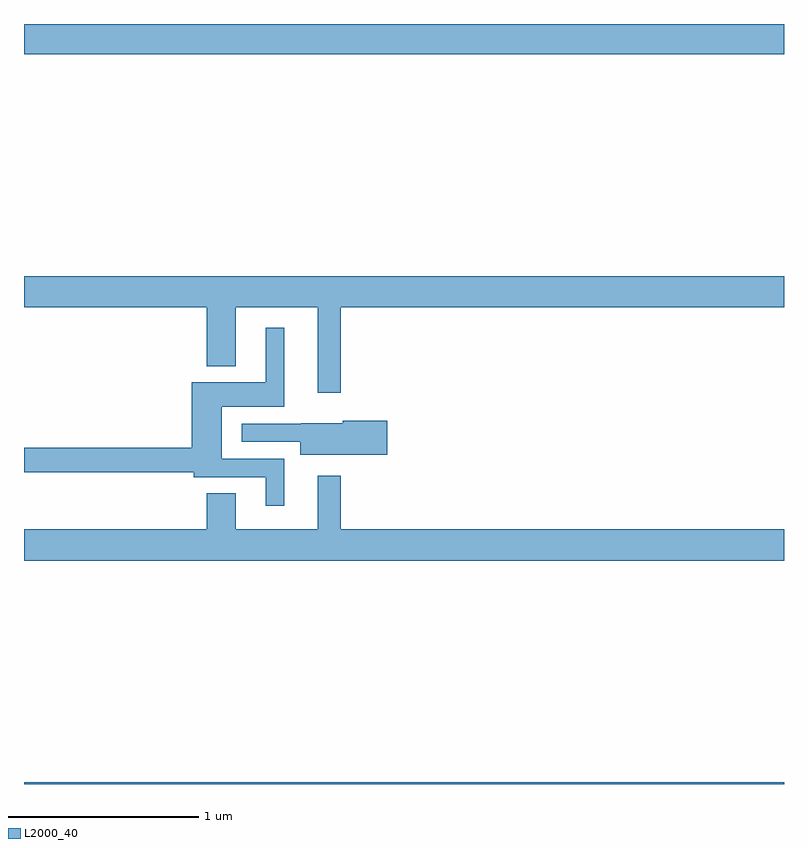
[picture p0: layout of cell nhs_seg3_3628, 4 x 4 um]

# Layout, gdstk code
import gdstk
lib = gdstk.Library(unit=1e-6, precision=1e-09)
def R(c, l, rs):  # rectangles x0, y0, x1, y1
    for r in rs: c.add(gdstk.rectangle(r[:2], r[2:], *l))
def P(c, l, *ps):  # polygons
    for p in ps: c.add(gdstk.Polygon(p, *l))
L2000_40 = (2000, 40)

nhs_seg3_3628 = lib.new_cell('nhs_seg3_3628')
R(nhs_seg3_3628, L2000_40, [(299,706.4,303,706.408), (299,710.24,303,710.4)])
P(nhs_seg3_3628, L2000_40, [(300.667,708.908),(303,708.908),(303,709.072),(299,709.072),(299,708.908),(299.963,708.908),(299.963,708.599),(300.115,708.599),(300.115,708.908),(300.545,708.908),(300.545,708.459),(300.667,708.459)],
  [(300.37,708.111),(300.04,708.111),(300.04,708.386),(300.37,708.386),(300.37,708.802),(300.272,708.802),(300.272,708.514),(299.882,708.514),(299.882,708.17),(299,708.17),(299,708.042),(299.894,708.042),(299.894,708.015),(300.272,708.015),(300.272,707.865),(300.37,707.865)],
  [(300.913,708.311),(300.678,708.311),(300.678,708.298),(300.459,708.298),(300.459,708.297),(300.147,708.297),(300.147,708.201),(300.455,708.201),(300.455,708.133),(300.913,708.133)],
  [(303,707.74),(300.667,707.74),(300.667,708.022),(300.545,708.022),(300.545,707.74),(300.115,707.74),(300.115,707.93),(299.963,707.93),(299.963,707.74),(299,707.74),(299,707.576),(303,707.576)])

lib.write_gds('nhs_seg3_3628.gds')
